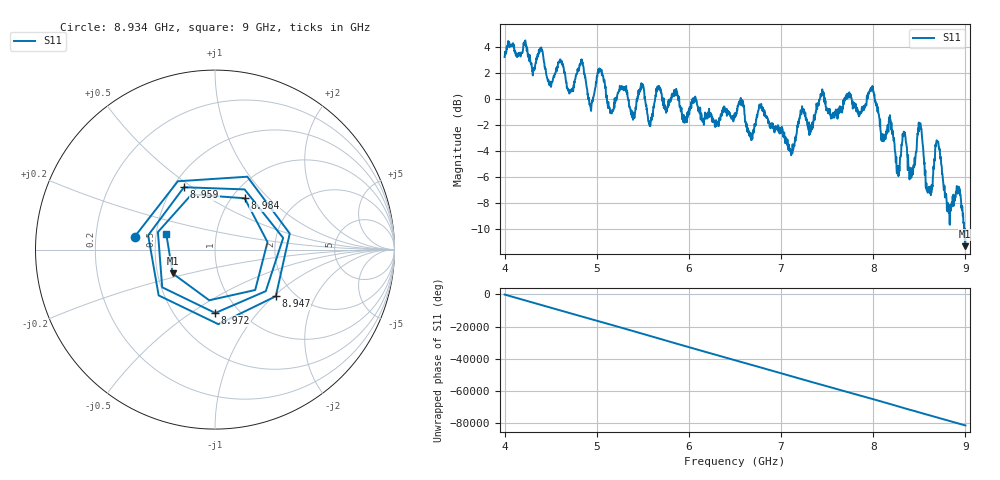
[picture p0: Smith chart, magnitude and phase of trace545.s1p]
! Created with skrf 1.8.0 (http://scikit-rf.org).
# Hz S RI R 50.0
!freq ReS11 ImS11
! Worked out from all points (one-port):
!   1601 points, 4 GHz to 9 GHz, reference 50 ohm
!   lowest |S11| = -11.4 dB at 8.997 GHz (marker M1), VSWR 1.74, Z = 30 - j8.61 ohm
!   |S11| at or under -10 dB: 8.98556 GHz to 8.990825 GHz (5.265 MHz wide, 0.0586 % of centre); 8.991114 GHz to end of sweep
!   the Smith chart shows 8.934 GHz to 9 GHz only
!   S11 on the Smith chart (normalised r, x): 8.934 GHz: 0.38, +0.07; 8.947 GHz: 1.62, -1.03; 8.959 GHz: 0.57, +0.46; 8.972 GHz: 0.78, -0.63; 8.984 GHz: 1.14, +0.73; 9 GHz: 0.56, +0.11
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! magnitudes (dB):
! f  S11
! 4 GHz  3.3
! 4.625 GHz  2.8
! 4.719 GHz  0.6
! 4.838 GHz  3.1
! 4.931 GHz  -0.6
! 5.028 GHz  2.4
! 5.153 GHz  -1.0
! 5.25 GHz  1.0
! 5.575 GHz  -2.1
! 5.875 GHz  0.4
! 6.5 GHz  -1.3
! 7.125 GHz  -3.5
! 7.231 GHz  -0.9
! 7.75 GHz  0.2
! 7.988 GHz  1.0
! 8.262 GHz  -5.4
! 8.375 GHz  -5.5
! 8.506 GHz  -2.0
! 8.594 GHz  -7.2
! 8.697 GHz  -3.3
! 8.819 GHz  -8.8
! 8.934 GHz  -6.9
! 8.947 GHz  -7.4
! 8.959 GHz  -8.2
! 8.972 GHz  -9.0
! 8.984 GHz  -9.6
! 8.997 GHz  -11.4
! 9 GHz  -10.9
